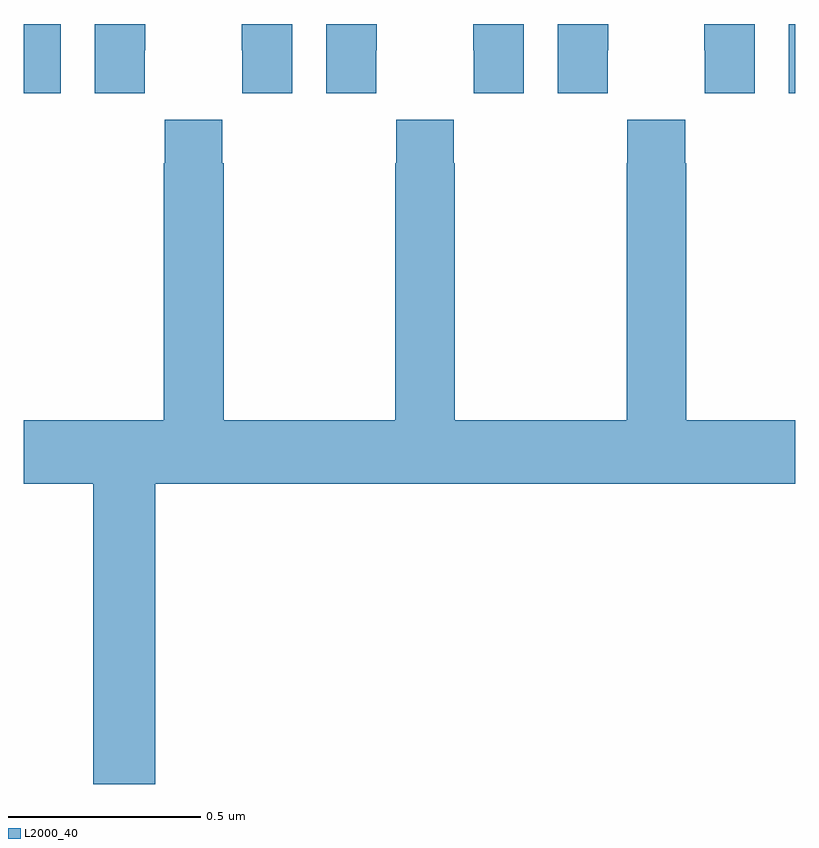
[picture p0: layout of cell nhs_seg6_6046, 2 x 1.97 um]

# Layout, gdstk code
import gdstk
lib = gdstk.Library(unit=1e-6, precision=1e-09)
def R(c, l, rs):  # rectangles x0, y0, x1, y1
    for r in rs: c.add(gdstk.rectangle(r[:2], r[2:], *l))
def P(c, l, *ps):  # polygons
    for p in ps: c.add(gdstk.Polygon(p, *l))
L2000_40 = (2000, 40)

nhs_seg6_6046 = lib.new_cell('nhs_seg6_6046')
R(nhs_seg6_6046, L2000_40, [(190,976.32,190.096,976.5), (191.984,976.32,192,976.5)])
P(nhs_seg6_6046, L2000_40, [(190.314,976.432),(190.315,976.432),(190.315,976.5),(190.184,976.5),(190.184,976.32),(190.314,976.32)],
  [(190.696,976.5),(190.565,976.5),(190.565,976.432),(190.566,976.432),(190.566,976.32),(190.696,976.32)],
  [(190.914,976.432),(190.915,976.432),(190.915,976.5),(190.784,976.5),(190.784,976.32),(190.914,976.32)],
  [(191.296,976.5),(191.165,976.5),(191.165,976.432),(191.166,976.432),(191.166,976.32),(191.296,976.32)],
  [(191.514,976.432),(191.515,976.432),(191.515,976.5),(191.384,976.5),(191.384,976.32),(191.514,976.32)],
  [(191.896,976.5),(191.765,976.5),(191.765,976.432),(191.766,976.432),(191.766,976.32),(191.896,976.32)],
  [(190.34,975.308),(192,975.308),(192,975.472),(191.718,975.472),(191.718,976.139),(191.715,976.139),(191.715,976.252),(191.565,976.252),(191.565,976.139),(191.563,976.139),(191.563,975.472),(191.118,975.472),(191.118,976.139),(191.115,976.139),(191.115,976.252),(190.965,976.252),(190.965,976.139),(190.963,976.139),(190.963,975.472),(190.518,975.472),(190.518,976.139),(190.515,976.139),(190.515,976.252),(190.365,976.252),(190.365,976.139),(190.363,976.139),(190.363,975.472),(190,975.472),(190,975.308),(190.18,975.308),(190.18,974.529),(190.34,974.529)])

lib.write_gds('nhs_seg6_6046.gds')
